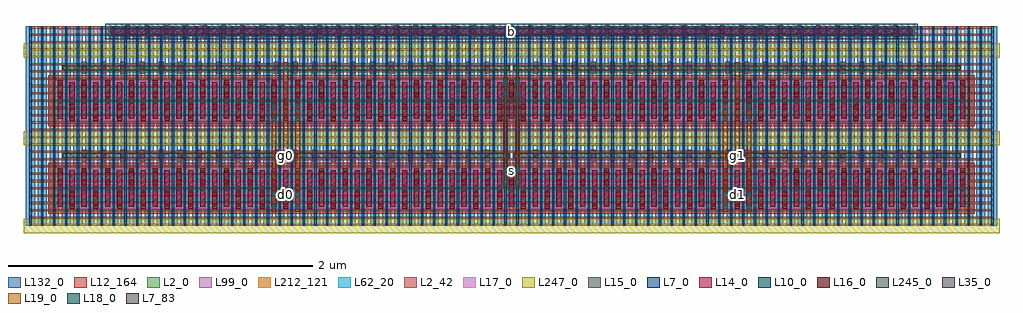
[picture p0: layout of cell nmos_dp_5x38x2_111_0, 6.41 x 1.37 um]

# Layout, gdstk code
import gdstk
lib = gdstk.Library(unit=1e-6, precision=1e-12)
def R(c, l, rs):  # rectangles x0, y0, x1, y1
    for r in rs: c.add(gdstk.rectangle(r[:2], r[2:], *l))
def A(c, l, x, y, w, h, nx, ny, dx, dy):  # array of equal rectangles
    R(c, l, [(x+i*dx, y+j*dy, x+i*dx+w, y+j*dy+h) for i in range(nx) for j in range(ny)])
L2_0 = (2, 0)
L2_42 = (2, 42)
L7_0 = (7, 0)
L7_83 = (7, 83)
L10_0 = (10, 0)
L12_164 = (12, 164)
L14_0 = (14, 0)
L15_0 = (15, 0)
L16_0 = (16, 0)
L17_0 = (17, 0)
L18_0 = (18, 0)
L19_0 = (19, 0)
L35_0 = (35, 0)
L62_20 = (62, 20)
L99_0 = (99, 0)
L132_0 = (132, 0)
L212_121 = (212, 121)
L245_0 = (245, 0)
L247_0 = (247, 0)

nmos_dp_5x38x2_111_0 = lib.new_cell('nmos_dp_5x38x2_111_0')
R(nmos_dp_5x38x2_111_0, L2_0, [(0.186,0.127,6.192,0.367), (0.186,0.703,6.192,0.943), (0.5414,1.247,5.8366,1.307)])
A(nmos_dp_5x38x2_111_0, L2_42, 0.023, 0, 6.318, 0.014, 1, 28, 0, 0.048)
A(nmos_dp_5x38x2_111_0, L7_0, 0.023, 0, 0.014, 1.31, 82, 1, 0.078, 0)
R(nmos_dp_5x38x2_111_0, L7_83, [(0.179,0.067,0.193,0.427), (6.185,0.067,6.199,0.427), (0.179,0.643,0.193,1.003), (6.185,0.643,6.199,1.003)])
R(nmos_dp_5x38x2_111_0, L10_0, [(0.5214,1.227,5.8566,1.327)])
R(nmos_dp_5x38x2_111_0, L12_164, [(0.147,0.079,6.231,0.415), (0.147,0.655,6.231,0.991)])
A(nmos_dp_5x38x2_111_0, L14_0, 0.208, 0.127, 0.034, 0.24, 77, 2, 0.078, 0.576)
R(nmos_dp_5x38x2_111_0, L14_0, [(0.5564,1.257,5.8216,1.297)])
A(nmos_dp_5x38x2_111_0, L15_0, 0.209, 0.127, 0.032, 0.24, 77, 2, 0.078, 0.576)
A(nmos_dp_5x38x2_111_0, L15_0, 0.368, 0.422, 0.032, 0.08, 22, 2, 0.126, 0.576)
A(nmos_dp_5x38x2_111_0, L15_0, 3.332, 0.422, 0.032, 0.08, 22, 2, 0.126, 0.576)
A(nmos_dp_5x38x2_111_0, L15_0, 0.653, 1.237, 0.032, 0.08, 41, 1, 0.126, 0)
A(nmos_dp_5x38x2_111_0, L16_0, 0.287, 0.114, 0.032, 0.032, 38, 2, 0.156, 0.078)
A(nmos_dp_5x38x2_111_0, L16_0, 0.209, 0.27, 0.032, 0.032, 39, 2, 0.156, 0.078)
A(nmos_dp_5x38x2_111_0, L16_0, 0.368, 0.446, 0.032, 0.032, 22, 2, 0.126, 0.576)
A(nmos_dp_5x38x2_111_0, L16_0, 3.332, 0.446, 0.032, 0.032, 22, 2, 0.126, 0.576)
A(nmos_dp_5x38x2_111_0, L16_0, 0.287, 0.69, 0.032, 0.032, 38, 2, 0.156, 0.078)
A(nmos_dp_5x38x2_111_0, L16_0, 0.209, 0.846, 0.032, 0.032, 39, 2, 0.156, 0.078)
A(nmos_dp_5x38x2_111_0, L16_0, 0.653, 1.261, 0.032, 0.032, 41, 1, 0.126, 0)
R(nmos_dp_5x38x2_111_0, L17_0, [(0.267,0.114,3.147,0.146), (3.231,0.114,6.111,0.146), (0.267,0.192,3.147,0.224), (3.231,0.192,6.111,0.224), (0.186,0.27,6.192,0.302), (0.186,0.348,6.192,0.38), (0.261,0.446,3.153,0.478), (3.225,0.446,6.117,0.478), (0.267,0.69,3.147,0.722), (3.231,0.69,6.111,0.722), (0.267,0.768,3.147,0.8), (3.231,0.768,6.111,0.8), (0.186,0.846,6.192,0.878), (0.186,0.924,6.192,0.956), (0.261,1.022,3.153,1.054), (3.225,1.022,6.117,1.054), (0.209,1.261,6.169,1.293)])
R(nmos_dp_5x38x2_111_0, L18_0, [(1.613,0.114,1.645,0.146), (1.769,0.114,1.801,0.146), (4.577,0.114,4.609,0.146), (4.733,0.114,4.765,0.146), (1.613,0.192,1.645,0.224), (1.769,0.192,1.801,0.224), (4.577,0.192,4.609,0.224), (4.733,0.192,4.765,0.224), (3.134,0.27,3.166,0.302), (3.212,0.27,3.244,0.302), (3.134,0.348,3.166,0.38), (3.212,0.348,3.244,0.38), (1.691,0.446,1.723,0.478), (4.655,0.446,4.687,0.478), (1.613,0.69,1.645,0.722), (1.769,0.69,1.801,0.722), (4.577,0.69,4.609,0.722), (4.733,0.69,4.765,0.722), (1.613,0.768,1.645,0.8), (1.769,0.768,1.801,0.8), (4.577,0.768,4.609,0.8), (4.733,0.768,4.765,0.8), (3.134,0.846,3.166,0.878), (3.212,0.846,3.244,0.878), (3.134,0.924,3.166,0.956), (3.212,0.924,3.244,0.956), (1.691,1.022,1.723,1.054), (4.655,1.022,4.687,1.054)])
R(nmos_dp_5x38x2_111_0, L19_0, [(1.613,0.094,1.645,0.82), (1.769,0.094,1.801,0.82), (4.577,0.094,4.609,0.82), (4.733,0.094,4.765,0.82), (3.134,0.25,3.166,0.976), (3.212,0.25,3.244,0.976), (1.691,0.426,1.723,1.075), (4.655,0.426,4.687,1.075)])
A(nmos_dp_5x38x2_111_0, L35_0, 0.209, 0.231, 0.032, 0.032, 77, 2, 0.078, 0.576)
A(nmos_dp_5x38x2_111_0, L35_0, 0.368, 0.446, 0.032, 0.032, 22, 2, 0.126, 0.576)
A(nmos_dp_5x38x2_111_0, L35_0, 3.332, 0.446, 0.032, 0.032, 22, 2, 0.126, 0.576)
A(nmos_dp_5x38x2_111_0, L35_0, 0.653, 1.261, 0.032, 0.032, 41, 1, 0.126, 0)
R(nmos_dp_5x38x2_111_0, L62_20, [(0.186,0.127,6.192,0.367), (0.186,0.703,6.192,0.943)])
R(nmos_dp_5x38x2_111_0, L99_0, [(0.186,0.127,6.192,0.367), (0.186,0.703,6.192,0.943), (0.5514,1.252,5.8266,1.302)])
A(nmos_dp_5x38x2_111_0, L132_0, 0, 0, 0.06, 1.31, 82, 1, 0.078, 0)
R(nmos_dp_5x38x2_111_0, L212_121, [(0.186,0.127,6.192,0.367), (0.186,0.703,6.192,0.943)])
R(nmos_dp_5x38x2_111_0, L245_0, [(0.241,0.447,3.173,0.477), (3.205,0.447,6.137,0.477), (0.241,1.023,3.173,1.053), (3.205,1.023,6.137,1.053)])
A(nmos_dp_5x38x2_111_0, L247_0, -0.016, -0.047, 6.41, 0.094, 1, 3, 0, 0.576)
nmos_dp_5x38x2_111_0.add(gdstk.Label('s', (3.189,0.364), layer=16, texttype=20))
nmos_dp_5x38x2_111_0.add(gdstk.Label('d1', (4.671,0.208), layer=16, texttype=20))
nmos_dp_5x38x2_111_0.add(gdstk.Label('d0', (1.707,0.208), layer=16, texttype=20))
nmos_dp_5x38x2_111_0.add(gdstk.Label('g0', (1.707,0.4625), layer=16, texttype=20))
nmos_dp_5x38x2_111_0.add(gdstk.Label('g1', (4.671,0.4625), layer=16, texttype=20))
nmos_dp_5x38x2_111_0.add(gdstk.Label('b', (3.189,1.277), layer=16, texttype=20))

lib.write_gds('nmos_dp_5x38x2_111_0.gds')
